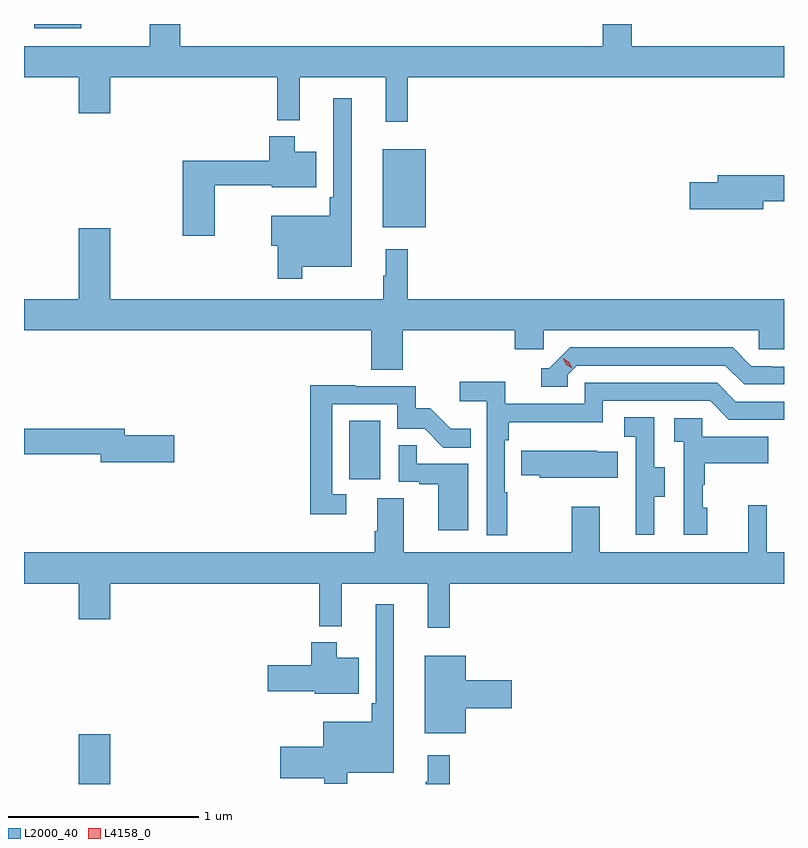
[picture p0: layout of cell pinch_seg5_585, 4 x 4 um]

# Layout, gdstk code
import gdstk
lib = gdstk.Library(unit=1e-6, precision=1e-09)
def R(c, l, rs):  # rectangles x0, y0, x1, y1
    for r in rs: c.add(gdstk.rectangle(r[:2], r[2:], *l))
def P(c, l, *ps):  # polygons
    for p in ps: c.add(gdstk.Polygon(p, *l))
L2000_40 = (2000, 40)
L4158_0 = (4158, 0)

pinch_seg5_585 = lib.new_cell('pinch_seg5_585')
R(pinch_seg5_585, L2000_40, [(1124.048,853.041,1124.212,853.303), (1125.47,854.646,1125.634,854.953), (1125.647,855.971,1125.874,856.381), (1123.813,857.019,1124.059,857.041)])
P(pinch_seg5_585, L2000_40, [(1125.779,856.76),(1127.759,856.76),(1127.759,856.924),(1126.957,856.924),(1126.957,857.041),(1126.805,857.041),(1126.805,856.924),(1124.582,856.924),(1124.582,857.041),(1124.422,857.041),(1124.422,856.924),(1123.759,856.924),(1123.759,856.76),(1124.048,856.76),(1124.048,856.572),(1124.212,856.572),(1124.212,856.76),(1125.091,856.76),(1125.091,856.535),(1125.209,856.535),(1125.209,856.76),(1125.662,856.76),(1125.662,856.527),(1125.779,856.527)],
  [(1125.223,855.764),(1125.484,855.764),(1125.484,856.651),(1125.387,856.651),(1125.387,856.129),(1125.367,856.129),(1125.367,856.033),(1125.06,856.033),(1125.06,855.875),(1125.094,855.875),(1125.094,855.699),(1125.223,855.699)],
  [(1124.764,856.192),(1125.062,856.192),(1125.062,856.181),(1125.298,856.181),(1125.298,856.369),(1125.184,856.369),(1125.184,856.45),(1125.05,856.45),(1125.05,856.321),(1124.594,856.321),(1124.594,855.927),(1124.764,855.927)],
  [(1127.65,856.108),(1127.759,856.108),(1127.759,856.244),(1127.411,856.244),(1127.411,856.208),(1127.262,856.208),(1127.262,856.066),(1127.65,856.066)],
  [(1125.752,855.428),(1126.343,855.428),(1126.343,855.33),(1126.494,855.33),(1126.494,855.428),(1127.625,855.428),(1127.625,855.33),(1127.759,855.33),(1127.759,855.592),(1125.779,855.592),(1125.779,855.856),(1125.662,855.856),(1125.662,855.716),(1125.651,855.716),(1125.651,855.592),(1124.212,855.592),(1124.212,855.967),(1124.048,855.967),(1124.048,855.592),(1123.759,855.592),(1123.759,855.428),(1125.587,855.428),(1125.587,855.22),(1125.752,855.22)],
  [(1126.62,855.195),(1126.668,855.243),(1127.451,855.243),(1127.55,855.144),(1127.759,855.144),(1127.759,855.237),(1127.694,855.237),(1127.694,855.24),(1127.587,855.24),(1127.488,855.339),(1126.635,855.339),(1126.524,855.228),(1126.481,855.228),(1126.481,855.132),(1126.62,855.132)],
  [(1126.303,854.576),(1126.29,854.576),(1126.29,854.849),(1126.31,854.849),(1126.31,854.945),(1126.806,854.945),(1126.806,855.057),(1127.37,855.057),(1127.469,854.958),(1127.759,854.958),(1127.759,855.054),(1127.506,855.054),(1127.407,855.153),(1126.71,855.153),(1126.71,855.042),(1126.292,855.042),(1126.292,855.158),(1126.053,855.158),(1126.053,855.056),(1126.194,855.056),(1126.194,854.349),(1126.303,854.349)],
  [(1125.454,854.565),(1125.381,854.565),(1125.381,855.039),(1125.723,855.039),(1125.723,854.91),(1125.867,854.91),(1125.965,854.812),(1126.109,854.812),(1126.109,854.911),(1126.005,854.911),(1125.898,855.018),(1125.822,855.018),(1125.822,855.135),(1125.503,855.135),(1125.503,855.14),(1125.265,855.14),(1125.265,854.46),(1125.454,854.46)],
  [(1127.077,854.554),(1127.131,854.554),(1127.131,854.709),(1127.076,854.709),(1127.076,854.972),(1126.917,854.972),(1126.917,854.869),(1126.98,854.869),(1126.98,854.565),(1126.979,854.565),(1126.979,854.352),(1127.077,854.352)],
  [(1127.356,854.496),(1127.331,854.496),(1127.331,854.615),(1127.341,854.615),(1127.341,854.729),(1127.675,854.729),(1127.675,854.869),(1127.328,854.869),(1127.328,854.967),(1127.181,854.967),(1127.181,854.843),(1127.232,854.843),(1127.232,854.352),(1127.356,854.352)],
  [(1124.551,854.876),(1124.29,854.876),(1124.29,854.912),(1123.759,854.912),(1123.759,854.776),(1124.162,854.776),(1124.162,854.734),(1124.551,854.734)],
  [(1126.096,854.727),(1125.827,854.727),(1125.827,854.825),(1125.732,854.825),(1125.732,854.631),(1125.839,854.631),(1125.839,854.619),(1125.938,854.619),(1125.938,854.376),(1126.096,854.376)],
  [(1126.883,854.791),(1126.775,854.791),(1126.775,854.794),(1126.375,854.794),(1126.375,854.665),(1126.473,854.665),(1126.473,854.654),(1126.883,854.654)],
  [(1126.001,854.096),(1127.759,854.096),(1127.759,854.26),(1127.667,854.26),(1127.667,854.509),(1127.57,854.509),(1127.57,854.26),(1126.789,854.26),(1126.789,854.5),(1126.642,854.5),(1126.642,854.26),(1125.757,854.26),(1125.757,854.546),(1125.617,854.546),(1125.617,854.372),(1125.605,854.372),(1125.605,854.26),(1123.759,854.26),(1123.759,854.096),(1124.048,854.096),(1124.048,853.908),(1124.212,853.908),(1124.212,854.096),(1125.313,854.096),(1125.313,853.871),(1125.431,853.871),(1125.431,854.096),(1125.884,854.096),(1125.884,853.863),(1126.001,853.863)],
  [(1125.46,853.1),(1125.706,853.1),(1125.706,853.987),(1125.609,853.987),(1125.609,853.465),(1125.589,853.465),(1125.589,853.369),(1125.335,853.369),(1125.335,853.236),(1125.108,853.236),(1125.108,853.07),(1125.339,853.07),(1125.339,853.043),(1125.46,853.043)],
  [(1125.52,853.705),(1125.406,853.705),(1125.406,853.786),(1125.272,853.786),(1125.272,853.665),(1125.042,853.665),(1125.042,853.528),(1125.288,853.528),(1125.288,853.517),(1125.52,853.517)],
  [(1126.084,853.439),(1126.327,853.439),(1126.327,853.586),(1126.084,853.586),(1126.084,853.717),(1125.869,853.717),(1125.869,853.307),(1126.084,853.307)],
  [(1126.001,853.192),(1125.884,853.192),(1125.884,853.052),(1125.873,853.052),(1125.873,853.041),(1126.001,853.041)])
P(pinch_seg5_585, L4158_0, [(1126.644,855.229),(1126.613,855.248),(1126.597,855.281),(1126.597,855.281),(1126.597,855.281),(1126.628,855.262),(1126.644,855.229),(1126.644,855.229)])

lib.write_gds('pinch_seg5_585.gds')
